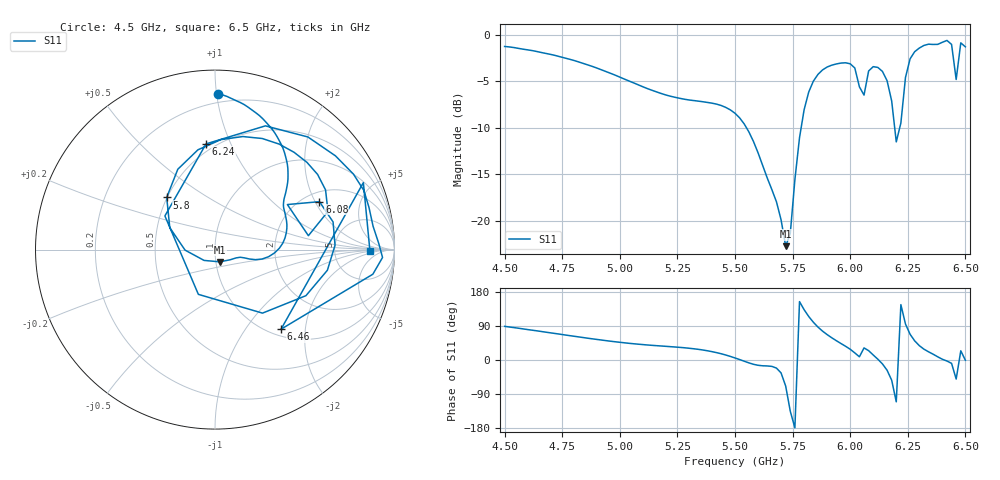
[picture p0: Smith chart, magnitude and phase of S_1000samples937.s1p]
! TOUCHSTONE file generated by CST MICROWAVE STUDIO
! Date and time: Sat Oct 29 20:53:45 2022
! Project name: L.cst
! Parameters = {Di=1.27; Epsilon_r=1.56; InnerDiameter=1.27; Length=2; Lf=10; Lg=60; OuterConductorThickness=0.2921; OuterDiameter=3.6; Wf=3; Wp=41.2; de=1.5; df=6.8; g=0.8; gx=1.70601; gy=4.82413; h=2.34; hf=1.524; px=13.7531; py=10.9624; w=9.7; wx=12.0471; wy=6.13822}
! Header version: 2018
! Port assignment regex: !\s*Touchstone port\s*([0-9]+)\s*=\s*(CST MWS port|CST DS port)\s*([0-9]+|Zmin|Zmax)\s*\(\"(.*)\"\)(\s*mode\s*([0-9]+))?.*
! Touchstone port assignment:
! Touchstone port 1 = CST MWS port 1 ("")
# GHz S DB R 50
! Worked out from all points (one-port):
!   101 points, 4.5 GHz to 6.5 GHz, reference 50 ohm
!   lowest |S11| = -22.7 dB at 5.72 GHz (marker M1), VSWR 1.16, Z = 52.2 - j7.16 ohm
!   |S11| at or under -10 dB: 5.55 GHz to 5.787 GHz (236.9 MHz wide, 4.18 % of centre); 6.193184 GHz to 6.214763 GHz (21.58 MHz wide, 0.348 % of centre)
!   S11 on the Smith chart (normalised r, x): 4.5 GHz: 0.14, +1.01; 5.8 GHz: 0.50, +0.34; 6.08 GHz: 2.40, +2.17; 6.24 GHz: 0.45, +0.81; 6.46 GHz: 1.12, -1.49; 6.5 GHz: 14, -1
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4.5  -1.23 88.8
4.76  -2.47 66.3
5  -4.53 46.7
5.26  -6.81 33.4
5.5  -8.42 5.4
5.6  -12.67 -13.9
5.72  -22.72 -68.8
5.74  -21.34 -135.3
5.76  -15.55 -179.0
5.8  -8.04 132.8
5.84  -4.97 99.7
5.88  -3.76 76.2
6  -3.10 28.4
6.04  -5.58 8.5
6.06  -6.47 31.9
6.08  -3.87 24.6
6.14  -3.92 -10.4
6.18  -7.09 -53.2
6.2  -11.50 -110.4
6.22  -9.47 146.1
6.24  -4.57 94.8
6.26  -2.56 67.8
6.32  -1.12 28.6
6.42  -0.59 -2.7
6.44  -1.01 -8.9
6.46  -4.79 -50.3
6.48  -0.85 24.3
6.5  -1.27 -0.6
